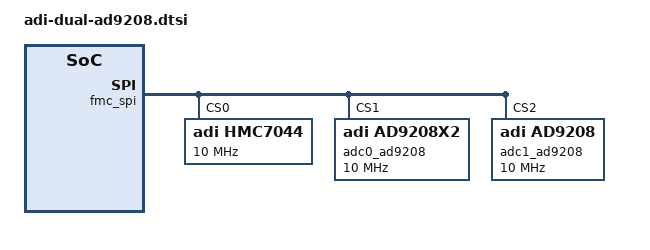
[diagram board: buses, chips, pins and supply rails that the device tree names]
// SPDX-License-Identifier: GPL-2.0
#include <dt-bindings/iio/adc/adi,ad9208.h>
#include <dt-bindings/iio/frequency/hmc7044.h>

&fmc_spi {
	status = "okay";

	hmc7044: hmc7044@0 {
		#address-cells = <1>;
		#size-cells = <0>;
		#clock-cells = <1>;
		compatible = "adi,hmc7044";
		reg = <0>;
		spi-max-frequency = <10000000>;

		jesd204-device;
		#jesd204-cells = <2>;
		jesd204-sysref-provider;
		adi,jesd204-max-sysref-frequency-hz = <2000000>;
		adi,hmc-two-level-tree-sync-en;

		adi,pll1-clkin-frequencies = <13000000 0 0 10000000>;
		adi,pll1-ref-prio-ctrl = <0x3>;

		adi,pll1-loop-bandwidth-hz = <200>;

		adi,vcxo-frequency = <125000000>;

		adi,pll2-output-frequency = <3000000000>;

		adi,sysref-timer-divider = <1024>;
		adi,pulse-generator-mode = <HMC7044_PULSE_GEN_4_PULSE>;

		adi,clkin0-buffer-mode = <0x15>;
		adi,clkin3-buffer-mode = <0x15>;
		adi,oscin-buffer-mode = <0x03>;

		adi,gpi-controls = <0x00 0x00 0x00 0x00>;
		/* PLL1 Lock, PLL2 Lock, Clk phase stat, SYSREF sysnc stat */
		adi,gpo-controls = <0x1f 0x2b 0x33 0x37>;

		clock-output-names =
			"hmc7044_out0", "hmc7044_out1", "hmc7044_out2",
			"hmc7044_out3", "hmc7044_out4", "hmc7044_out5",
			"hmc7044_out6", "hmc7044_out7", "hmc7044_out8",
			"hmc7044_out9", "hmc7044_out10", "hmc7044_out11",
			"hmc7044_out12", "hmc7044_out13";

		hmc7044_c0: channel@0 {
			reg = <0>;
			adi,extended-name = "ADC_B_CLK";
			adi,divider = <1>;	// 3000000000
			adi,driver-mode = <HMC7044_DRIVER_MODE_LVPECL>;	// LVPECL
		};
		hmc7044_c1: channel@1 {
			reg = <1>;
			adi,extended-name = "ADC_B_SYSREF";
			adi,divider = <512>;	// 3000000000
			adi,driver-mode = <HMC7044_DRIVER_MODE_LVPECL>;	// LVPECL
			adi,startup-mode-dynamic-enable;
			adi,high-performance-mode-disable;
			adi,dynamic-driver-enable;
			adi,jesd204-sysref-chan;
		};
		hmc7044_c2: channel@2 {
			reg = <2>;
			adi,extended-name = "ADC_A_CLK";
			adi,divider = <1>;	// 3000000000
			adi,driver-mode = <HMC7044_DRIVER_MODE_LVPECL>;	// LVPECL
		};
		hmc7044_c3: channel@3 {
			reg = <3>;
			adi,extended-name = "ADC_A_SYSREF";
			adi,divider = <512>;	// 3000000000
			adi,driver-mode = <HMC7044_DRIVER_MODE_LVPECL>;	// LVPECL
			adi,startup-mode-dynamic-enable;
			adi,high-performance-mode-disable;
			adi,dynamic-driver-enable;
			adi,jesd204-sysref-chan;
		};
		hmc7044_c8: channel@8 {
			reg = <8>;
			adi,extended-name = "FMC_REFCLK0"; /* GT REFCLK LR/20 */
			adi,divider = <4>;	// 3000000000
			adi,driver-mode = <HMC7044_DRIVER_MODE_LVPECL>;	// LVPECL
		};
		hmc7044_c9: channel@9 {
			reg = <9>;
			adi,extended-name = "FMC_REFCLK1"; /* LinkCLK LR/40 */
			adi,divider = <8>;	// 3000000000
			adi,driver-mode = <HMC7044_DRIVER_MODE_LVPECL>;	// LVPECL
		};
		hmc7044_c10: channel@10 {
			reg = <10>;
			adi,extended-name = "FMC_0_SYSREF";
			adi,divider = <512>;	// 3000000000
			adi,driver-mode = <HMC7044_DRIVER_MODE_LVDS>;	// LVDS
			adi,jesd204-sysref-chan;
		};
		hmc7044_c11: channel@11 {
			reg = <11>;
			adi,extended-name = "FMC_1_SYSREF";
			adi,divider = <512>;	// 3000000000
			adi,driver-mode = <HMC7044_DRIVER_MODE_LVDS>;	// LVDS
			adi,jesd204-sysref-chan;
		};

	};

	adc0_ad9208: ad9208@1 {
		compatible = "adi,ad9208x2";
		spi-max-frequency = <10000000>;
		reg = <1>;

		jesd204-device;
		#jesd204-cells = <2>;
		jesd204-top-device = <0>;
		jesd204-link-ids = <0>;

		jesd204-inputs = <&adc1_ad9208 0 0>;


		clocks = <&axi_ad9208_0_jesd_rx>,  <&hmc7044 2>;
		clock-names = "jesd_adc_clk", "adc_clk";

		adi,powerdown-mode = <AD9208_PDN_MODE_POWERDOWN>;

		adi,sampling-frequency = /bits/ 64 <3000000000>;
		adi,input-clock-divider-ratio = <1>;
		adi,duty-cycle-stabilizer-enable;

		adi,analog-input-neg-buffer-current = <AD9208_BUFF_CURR_600_UA>;
		adi,analog-input-pos-buffer-current = <AD9208_BUFF_CURR_600_UA>;

		adi,sysref-lmfc-offset = <0>;
		adi,sysref-pos-window-skew = <0>;
		adi,sysref-neg-window-skew = <0>;
		adi,sysref-mode = <AD9208_SYSREF_ONESHOT>;
		adi,sysref-nshot-ignore-count = <2>;

		/* JESD204 parameters */

		adi,octets-per-frame = <1>;
		adi,frames-per-multiframe = <32>;
		adi,converter-resolution = <16>;
		adi,bits-per-sample = <16>;
		adi,converters-per-device = <2>;
		adi,control-bits-per-sample = <0>;
		adi,lanes-per-device = <8>;
		adi,subclass = <1>;

		/* DDC setup */

		adi,ddc-channel-number = <AD9208_FULL_BANDWIDTH_MODE>;

		#address-cells = <1>;
		#size-cells = <0>;

		ad9208_0_ddc0: channel@0 {
			reg = <0>;
			adi,decimation = <2>;
			adi,nco-mode-select = <AD9208_NCO_MODE_VIF>;
			adi,nco-channel-carrier-frequency-hz = /bits/ 64 <70000000>;
			adi,nco-channel-phase-offset = /bits/ 64 <0>;
			adi,ddc-gain-6dB-enable;
		};
	};

	adc1_ad9208: ad9208@2 {
		compatible = "adi,ad9208";
		spi-max-frequency = <10000000>;
		reg = <2>;

		jesd204-device;
		#jesd204-cells = <2>;
		jesd204-inputs = <&rx_ad9208_0_tpl_core_tpl 0 0>;

		clocks = <&axi_ad9208_1_jesd_rx>,  <&hmc7044 0>;
		clock-names = "jesd_adc_clk", "adc_clk";

		adi,powerdown-mode = <AD9208_PDN_MODE_POWERDOWN>;

		adi,sampling-frequency = /bits/ 64 <3000000000>;
		adi,input-clock-divider-ratio = <1>;
		adi,duty-cycle-stabilizer-enable;

		adi,analog-input-neg-buffer-current = <AD9208_BUFF_CURR_600_UA>;
		adi,analog-input-pos-buffer-current = <AD9208_BUFF_CURR_600_UA>;

		adi,sysref-lmfc-offset = <0>;
		adi,sysref-pos-window-skew = <0>;
		adi,sysref-neg-window-skew = <0>;
		adi,sysref-mode = <AD9208_SYSREF_ONESHOT>;
		adi,sysref-nshot-ignore-count = <2>;

		/* JESD204 parameters */

		adi,octets-per-frame = <1>;
		adi,frames-per-multiframe = <32>;
		adi,converter-resolution = <16>;
		adi,bits-per-sample = <16>;
		adi,converters-per-device = <2>;
		adi,control-bits-per-sample = <0>;
		adi,lanes-per-device = <8>;
		adi,subclass = <1>;

		/* DDC setup */

		adi,ddc-channel-number = <AD9208_FULL_BANDWIDTH_MODE>;

		#address-cells = <1>;
		#size-cells = <0>;

		ad9208_1_ddc0: channel@0 {
			reg = <0>;
			adi,decimation = <2>;
			adi,nco-mode-select = <AD9208_NCO_MODE_VIF>;
			adi,nco-channel-carrier-frequency-hz = /bits/ 64 <70000000>;
			adi,nco-channel-phase-offset = /bits/ 64 <0>;
			adi,ddc-gain-6dB-enable;
		};
	};
};
